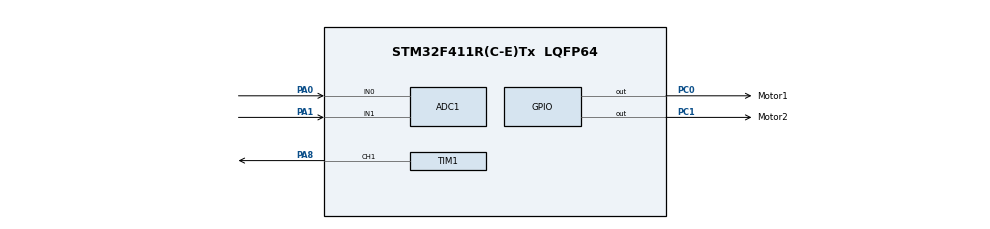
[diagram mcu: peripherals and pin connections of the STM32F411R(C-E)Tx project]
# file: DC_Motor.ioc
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ADC1.Channel-0\#ChannelRegularConversion=ADC_CHANNEL_0
ADC1.Channel-1\#ChannelRegularConversion=ADC_CHANNEL_1
ADC1.ContinuousConvMode=ENABLE
ADC1.DMAContinuousRequests=ENABLE
ADC1.NbrOfConversion=2
ADC1.NbrOfConversionFlag=1
ADC1.Rank-0\#ChannelRegularConversion=1
ADC1.Rank-1\#ChannelRegularConversion=2
ADC1.SamplingTime-0\#ChannelRegularConversion=ADC_SAMPLETIME_480CYCLES
ADC1.SamplingTime-1\#ChannelRegularConversion=ADC_SAMPLETIME_480CYCLES
ADC1.master=1
Dma.ADC1.0.Direction=DMA_PERIPH_TO_MEMORY
Dma.ADC1.0.FIFOMode=DMA_FIFOMODE_DISABLE
Dma.ADC1.0.Instance=DMA2_Stream0
Dma.ADC1.0.MemDataAlignment=DMA_MDATAALIGN_HALFWORD
Dma.ADC1.0.MemInc=DMA_MINC_ENABLE
Dma.ADC1.0.Mode=DMA_CIRCULAR
Dma.ADC1.0.PeriphDataAlignment=DMA_PDATAALIGN_HALFWORD
Dma.ADC1.0.PeriphInc=DMA_PINC_DISABLE
Dma.ADC1.0.Priority=DMA_PRIORITY_LOW
Dma.Request0=ADC1
Mcu.Family=STM32F4
Mcu.Name=STM32F411R(C-E)Tx
Mcu.Package=LQFP64
NVIC.DMA2_Stream0_IRQn=true\:0\:0\:false\:false\:true\:false\:true\:true
NVIC.PriorityGroup=NVIC_PRIORITYGROUP_4
PA0-WKUP.Signal=ADCx_IN0
PA1.Signal=ADCx_IN1
PA8.Signal=S_TIM1_CH1
PC0.GPIO_Label=Motor1
PC0.Signal=GPIO_Output
PC1.GPIO_Label=Motor2
PC1.Signal=GPIO_Output
ProjectManager.HeapSize=0x200
ProjectManager.StackSize=0x400
ProjectManager.TargetToolchain=STM32CubeIDE
RCC.AHBFreq_Value=16000000
RCC.APB1Freq_Value=16000000
RCC.APB2Freq_Value=16000000
RCC.CortexFreq_Value=16000000
RCC.HSE_VALUE=25000000
RCC.HSI_VALUE=16000000
RCC.LSE_VALUE=32768
RCC.SYSCLKFreq_VALUE=16000000
RCC.VCOOutputFreq_Value=192000000
SH.ADCx_IN0.0=ADC1_IN0,IN0
SH.ADCx_IN1.0=ADC1_IN1,IN1
SH.S_TIM1_CH1.0=TIM1_CH1,PWM Generation1 CH1
TIM1.Channel-PWM\ Generation1\ CH1=TIM_CHANNEL_1
TIM1.Period=999
TIM1.Prescaler=15
TIM1.Pulse-PWM\ Generation1\ CH1=499
VP_TIM1_VS_ClockSourceINT.Mode=Internal
board=custom

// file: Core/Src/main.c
/* USER CODE BEGIN Header */
/**
 ******************************************************************************
 * @file           : main.c
 * @brief          : Main program body
 ******************************************************************************
 * @attention
 *
 * Copyright (c) 2023 STMicroelectronics.
 * All rights reserved.
 *
 * This software is licensed under terms that can be found in the LICENSE file
 * in the root directory of this software component.
 * If no LICENSE file comes with this software, it is provided AS-IS.
 *
 ******************************************************************************
 */
/* USER CODE END Header */
#include "main.h"

ADC_HandleTypeDef hadc1;
DMA_HandleTypeDef hdma_adc1;

TIM_HandleTypeDef htim1;

void SystemClock_Config(void);
static void MX_GPIO_Init(void);
static void MX_DMA_Init(void);
static void MX_ADC1_Init(void);
static void MX_TIM1_Init(void);

/* USER CODE BEGIN 0 */
long map(long x, long in_min, long in_max, long out_min, long out_max)
{
	return (x - in_min) * (out_max - out_min) / (in_max - in_min) + out_min;
}

void setPwm(int value)
{
	htim1.Instance->CCR1 = value;
}

void setMotorStop()
{
	// motor state : stop
	HAL_GPIO_WritePin(Motor1_GPIO_Port, Motor1_Pin, 0);
	HAL_GPIO_WritePin(Motor2_GPIO_Port, Motor2_Pin, 0);
	setPwm(0);
}

void setMotorStart(int dir, int pwm)
{
	if (dir == 1)
	{
		// motor state : rotate CW
		HAL_GPIO_WritePin(Motor1_GPIO_Port, Motor1_Pin, 1);
		HAL_GPIO_WritePin(Motor2_GPIO_Port, Motor2_Pin, 0);
	}
	else
	{
		// motor state : rotate CCW
		HAL_GPIO_WritePin(Motor1_GPIO_Port, Motor1_Pin, 1);
		HAL_GPIO_WritePin(Motor2_GPIO_Port, Motor2_Pin, 0);
	}
	setPwm(pwm);
}
/* USER CODE END 0 */

int main(void)
{

	/* MCU Configuration--------------------------------------------------------*/

	/* Reset of all peripherals, Initializes the Flash interface and the Systick. */
	HAL_Init();

	/* Configure the system clock */
	SystemClock_Config();

	/* Initialize all configured peripherals */
	MX_GPIO_Init();
	MX_DMA_Init();
	MX_ADC1_Init();
	MX_TIM1_Init();
	/* USER CODE BEGIN 2 */
	uint16_t adcValue[2];  // storage ADC result.
	HAL_ADC_Start_DMA(&hadc1, adcValue, sizeof(adcValue));
	HAL_TIM_PWM_Start(&htim1, TIM_CHANNEL_1);
	setMotorStop();
	/* USER CODE END 2 */

	/* Infinite loop */
	while (1)
	{

		/* USER CODE BEGIN 3 */
		// 0 ~ 1800
		if (adcValue[0] < 1800)
		{
		setMotorStart(1, map(adcValue[0], 0, 1799, 999, 0));
	}
	// 2200 ~ 4095
	else if (adcValue[0] > 2200)
	{
	setMotorStart(0, map(adcValue[0], 2201, 4095, 0, 999));
}
// 1800 ~ 2200
else
	setMotorStop();
}
/* USER CODE END 3 */
}

void SystemClock_Config(void)
{
RCC_OscInitTypeDef RCC_OscInitStruct =
{ 0 };
RCC_ClkInitTypeDef RCC_ClkInitStruct =
{ 0 };

/** Configure the main internal regulator output voltage
 */
__HAL_RCC_PWR_CLK_ENABLE();
__HAL_PWR_VOLTAGESCALING_CONFIG(PWR_REGULATOR_VOLTAGE_SCALE1);

/** Initializes the RCC Oscillators according to the specified parameters
 * in the RCC_OscInitTypeDef structure.
 */
RCC_OscInitStruct.OscillatorType = RCC_OSCILLATORTYPE_HSI;
RCC_OscInitStruct.HSIState = RCC_HSI_ON;
RCC_OscInitStruct.HSICalibrationValue = RCC_HSICALIBRATION_DEFAULT;
RCC_OscInitStruct.PLL.PLLState = RCC_PLL_NONE;
if (HAL_RCC_OscConfig(&RCC_OscInitStruct) != HAL_OK)
{
Error_Handler();
}

/** Initializes the CPU, AHB and APB buses clocks
 */
RCC_ClkInitStruct.ClockType = RCC_CLOCKTYPE_HCLK | RCC_CLOCKTYPE_SYSCLK
	| RCC_CLOCKTYPE_PCLK1 | RCC_CLOCKTYPE_PCLK2;
RCC_ClkInitStruct.SYSCLKSource = RCC_SYSCLKSOURCE_HSI;
RCC_ClkInitStruct.AHBCLKDivider = RCC_SYSCLK_DIV1;
RCC_ClkInitStruct.APB1CLKDivider = RCC_HCLK_DIV1;
RCC_ClkInitStruct.APB2CLKDivider = RCC_HCLK_DIV1;

if (HAL_RCC_ClockConfig(&RCC_ClkInitStruct, FLASH_LATENCY_0) != HAL_OK)
{
Error_Handler();
}
}

static void MX_ADC1_Init(void)
{

ADC_ChannelConfTypeDef sConfig =
{ 0 };

/** Configure the global features of the ADC (Clock, Resolution, Data Alignment and number of conversion)
 */
hadc1.Instance = ADC1;
hadc1.Init.ClockPrescaler = ADC_CLOCK_SYNC_PCLK_DIV2;
hadc1.Init.Resolution = ADC_RESOLUTION_12B;
hadc1.Init.ScanConvMode = ENABLE;
hadc1.Init.ContinuousConvMode = ENABLE;
hadc1.Init.DiscontinuousConvMode = DISABLE;
hadc1.Init.ExternalTrigConvEdge = ADC_EXTERNALTRIGCONVEDGE_NONE;
hadc1.Init.ExternalTrigConv = ADC_SOFTWARE_START;
hadc1.Init.DataAlign = ADC_DATAALIGN_RIGHT;
hadc1.Init.NbrOfConversion = 2;
hadc1.Init.DMAContinuousRequests = ENABLE;
hadc1.Init.EOCSelection = ADC_EOC_SINGLE_CONV;
if (HAL_ADC_Init(&hadc1) != HAL_OK)
{
Error_Handler();
}

/** Configure for the selected ADC regular channel its corresponding rank in the sequencer and its sample time.
 */
sConfig.Channel = ADC_CHANNEL_0;
sConfig.Rank = 1;
sConfig.SamplingTime = ADC_SAMPLETIME_480CYCLES;
if (HAL_ADC_ConfigChannel(&hadc1, &sConfig) != HAL_OK)
{
Error_Handler();
}

/** Configure for the selected ADC regular channel its corresponding rank in the sequencer and its sample time.
 */
sConfig.Channel = ADC_CHANNEL_1;
sConfig.Rank = 2;
if (HAL_ADC_ConfigChannel(&hadc1, &sConfig) != HAL_OK)
{
Error_Handler();
}

}

static void MX_TIM1_Init(void)
{

TIM_ClockConfigTypeDef sClockSourceConfig =
{ 0 };
TIM_MasterConfigTypeDef sMasterConfig =
{ 0 };
TIM_OC_InitTypeDef sConfigOC =
{ 0 };
TIM_BreakDeadTimeConfigTypeDef sBreakDeadTimeConfig =
{ 0 };

htim1.Instance = TIM1;
htim1.Init.Prescaler = 15;
htim1.Init.CounterMode = TIM_COUNTERMODE_UP;
htim1.Init.Period = 999;
htim1.Init.ClockDivision = TIM_CLOCKDIVISION_DIV1;
htim1.Init.RepetitionCounter = 0;
htim1.Init.AutoReloadPreload = TIM_AUTORELOAD_PRELOAD_DISABLE;
if (HAL_TIM_Base_Init(&htim1) != HAL_OK)
{
Error_Handler();
}
sClockSourceConfig.ClockSource = TIM_CLOCKSOURCE_INTERNAL;
if (HAL_TIM_ConfigClockSource(&htim1, &sClockSourceConfig) != HAL_OK)
{
Error_Handler();
}
if (HAL_TIM_PWM_Init(&htim1) != HAL_OK)
{
Error_Handler();
}
sMasterConfig.MasterOutputTrigger = TIM_TRGO_RESET;
sMasterConfig.MasterSlaveMode = TIM_MASTERSLAVEMODE_DISABLE;
if (HAL_TIMEx_MasterConfigSynchronization(&htim1, &sMasterConfig) != HAL_OK)
{
Error_Handler();
}
sConfigOC.OCMode = TIM_OCMODE_PWM1;
sConfigOC.Pulse = 499;
sConfigOC.OCPolarity = TIM_OCPOLARITY_HIGH;
sConfigOC.OCNPolarity = TIM_OCNPOLARITY_HIGH;
sConfigOC.OCFastMode = TIM_OCFAST_DISABLE;
sConfigOC.OCIdleState = TIM_OCIDLESTATE_RESET;
sConfigOC.OCNIdleState = TIM_OCNIDLESTATE_RESET;
if (HAL_TIM_PWM_ConfigChannel(&htim1, &sConfigOC, TIM_CHANNEL_1) != HAL_OK)
{
Error_Handler();
}
sBreakDeadTimeConfig.OffStateRunMode = TIM_OSSR_DISABLE;
sBreakDeadTimeConfig.OffStateIDLEMode = TIM_OSSI_DISABLE;
sBreakDeadTimeConfig.LockLevel = TIM_LOCKLEVEL_OFF;
sBreakDeadTimeConfig.DeadTime = 0;
sBreakDeadTimeConfig.BreakState = TIM_BREAK_DISABLE;
sBreakDeadTimeConfig.BreakPolarity = TIM_BREAKPOLARITY_HIGH;
sBreakDeadTimeConfig.AutomaticOutput = TIM_AUTOMATICOUTPUT_DISABLE;
if (HAL_TIMEx_ConfigBreakDeadTime(&htim1, &sBreakDeadTimeConfig) != HAL_OK)
{
Error_Handler();
}
HAL_TIM_MspPostInit(&htim1);

}

static void MX_DMA_Init(void)
{

/* DMA controller clock enable */
__HAL_RCC_DMA2_CLK_ENABLE();

/* DMA interrupt init */
/* DMA2_Stream0_IRQn interrupt configuration */
HAL_NVIC_SetPriority(DMA2_Stream0_IRQn, 0, 0);
HAL_NVIC_EnableIRQ(DMA2_Stream0_IRQn);

}

static void MX_GPIO_Init(void)
{
GPIO_InitTypeDef GPIO_InitStruct =
{ 0 };

/* GPIO Ports Clock Enable */
__HAL_RCC_GPIOC_CLK_ENABLE();
__HAL_RCC_GPIOA_CLK_ENABLE();

/*Configure GPIO pin Output Level */
HAL_GPIO_WritePin(GPIOC, Motor1_Pin | Motor2_Pin, GPIO_PIN_RESET);

/*Configure GPIO pins : Motor1_Pin Motor2_Pin */
GPIO_InitStruct.Pin = Motor1_Pin | Motor2_Pin;
GPIO_InitStruct.Mode = GPIO_MODE_OUTPUT_PP;
GPIO_InitStruct.Pull = GPIO_NOPULL;
GPIO_InitStruct.Speed = GPIO_SPEED_FREQ_LOW;
HAL_GPIO_Init(GPIOC, &GPIO_InitStruct);

}

void Error_Handler(void)
{
__disable_irq();
while (1)
{
}
}
